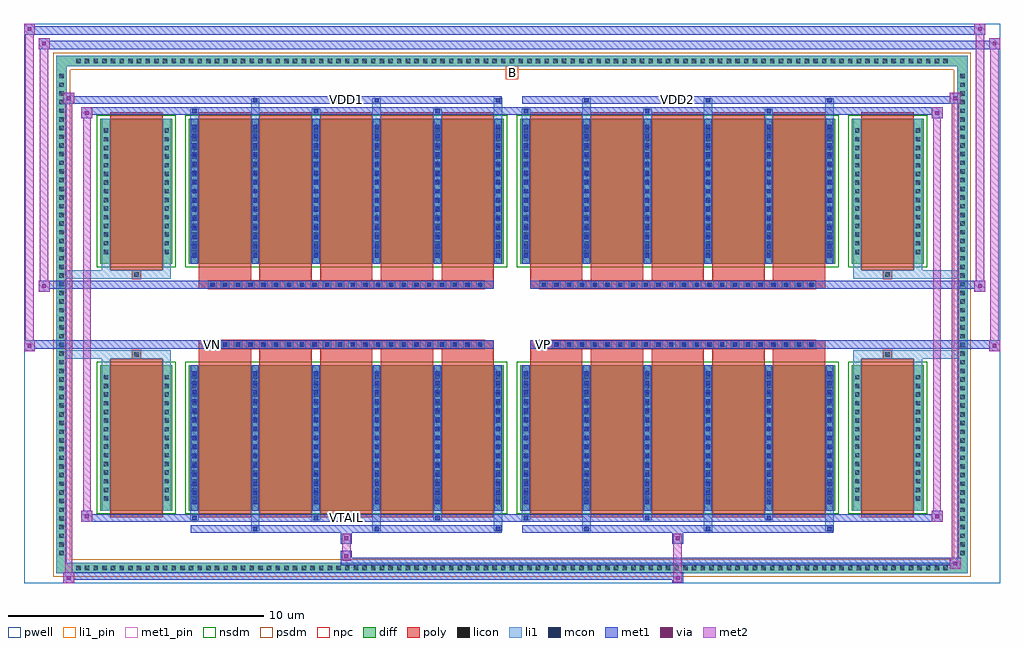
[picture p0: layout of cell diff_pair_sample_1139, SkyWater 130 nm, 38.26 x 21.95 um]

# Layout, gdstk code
import gdstk
lib = gdstk.Library(unit=1e-6, precision=5e-09)
def R(c, l, rs):  # rectangles x0, y0, x1, y1
    for r in rs: c.add(gdstk.rectangle(r[:2], r[2:], *l))
def A(c, l, x, y, w, h, nx, ny, dx, dy):  # array of equal rectangles
    R(c, l, [(x+i*dx, y+j*dy, x+i*dx+w, y+j*dy+h) for i in range(nx) for j in range(ny)])
def P(c, l, *ps):  # polygons
    for p in ps: c.add(gdstk.Polygon(p, *l))
pwell = (64, 44)
diff = (65, 20)
poly = (66, 20)
licon = (66, 44)
li1_pin = (67, 16)
li1 = (67, 20)
mcon = (67, 44)
met1_pin = (68, 16)
met1 = (68, 20)
via = (68, 44)
met2 = (69, 20)
nsdm = (93, 44)
psdm = (94, 20)
npc = (95, 20)

diff_pair_sample_1139 = lib.new_cell('diff_pair_sample_1139')
R(diff_pair_sample_1139, pwell, [(-19.13,-10.54,19.13,11.41), (-16.45,-8.73,-0.01,-0.805), (0.01,-8.73,16.45,-0.805), (-16.45,0.805,-0.01,8.73), (0.01,0.805,16.45,8.73)])
A(diff_pair_sample_1139, diff, -17.205, -10.14, 0.41, 0.41, 101, 2, 0.34, 19.87)
A(diff_pair_sample_1139, diff, -17.86, -9.555, 0.41, 0.41, 1, 56, 0, 0.34)
A(diff_pair_sample_1139, diff, 17.45, -9.555, 0.41, 0.41, 1, 56, 0, 0.34)
R(diff_pair_sample_1139, diff, [(-17.205,-10.14,17.205,-9.73), (-17.86,-9.555,-17.45,9.555), (17.45,-9.555,17.86,9.555), (-16.14,-7.685,-13.31,-1.985), (-12.67,-7.685,-0.32,-1.985), (0.32,-7.685,12.67,-1.985), (13.31,-7.685,16.14,-1.985), (-16.14,1.985,-13.31,7.685), (-12.67,1.985,-0.32,7.685), (0.32,1.985,12.67,7.685), (13.31,1.985,16.14,7.685), (-17.205,9.73,17.205,10.14)])
P(diff_pair_sample_1139, diff, [(17.86,10.14),(-17.86,10.14),(-17.86,-9.73),(-17.45,-9.73),(-17.45,9.73),(17.45,9.73),(17.45,-9.73),(-17.45,-9.73),(-17.86,-9.73),(-17.86,-10.14),(17.86,-10.14)])
A(diff_pair_sample_1139, poly, -12.28, -7.935, 2.05, 6.2, 5, 2, 2.38, 9.67)
A(diff_pair_sample_1139, poly, 0.71, -7.935, 2.05, 6.2, 5, 2, 2.38, 9.67)
A(diff_pair_sample_1139, poly, -12.28, -1.735, 2.05, 0.4, 5, 2, 2.38, 3.07)
A(diff_pair_sample_1139, poly, 0.71, -1.735, 2.05, 0.4, 5, 2, 2.38, 3.07)
A(diff_pair_sample_1139, poly, -11.91, -1.335, 0.33, 0.33, 22, 2, 0.5, 2.34)
A(diff_pair_sample_1139, poly, 1.08, -1.335, 0.33, 0.33, 22, 2, 0.5, 2.34)
R(diff_pair_sample_1139, poly, [(-15.75,-7.935,-13.7,-1.735), (13.7,-7.935,15.75,-1.735), (-14.89,-1.735,-14.56,-1.405), (-14.89,-1.735,-14.56,-1.405), (14.56,-1.735,14.89,-1.405), (14.56,-1.735,14.89,-1.405), (-12.28,-1.335,-0.71,-1.005), (0.71,-1.335,12.28,-1.005), (-12.28,1.005,-0.71,1.335), (0.71,1.005,12.28,1.335), (-14.89,1.405,-14.56,1.735), (-14.89,1.405,-14.56,1.735), (14.56,1.405,14.89,1.735), (14.56,1.405,14.89,1.735), (-15.75,1.735,-13.7,7.935), (13.7,1.735,15.75,7.935)])
A(diff_pair_sample_1139, licon, -17.085, -10.02, 0.17, 0.17, 101, 2, 0.34, 19.87)
A(diff_pair_sample_1139, licon, -17.74, -9.435, 0.17, 0.17, 1, 56, 0, 0.34)
A(diff_pair_sample_1139, licon, 17.57, -9.435, 0.17, 0.17, 1, 56, 0, 0.34)
A(diff_pair_sample_1139, licon, -16, -7.3, 0.17, 0.17, 1, 15, 0, 0.34)
A(diff_pair_sample_1139, licon, -13.62, -7.3, 0.17, 0.17, 1, 15, 0, 0.34)
A(diff_pair_sample_1139, licon, -12.53, -7.3, 0.17, 0.17, 6, 15, 2.38, 0.34)
A(diff_pair_sample_1139, licon, 0.46, -7.3, 0.17, 0.17, 6, 15, 2.38, 0.34)
A(diff_pair_sample_1139, licon, 13.45, -7.3, 0.17, 0.17, 1, 15, 0, 0.34)
A(diff_pair_sample_1139, licon, 15.83, -7.3, 0.17, 0.17, 1, 15, 0, 0.34)
A(diff_pair_sample_1139, licon, -11.83, -1.255, 0.17, 0.17, 22, 2, 0.5, 2.34)
A(diff_pair_sample_1139, licon, 1.16, -1.255, 0.17, 0.17, 22, 2, 0.5, 2.34)
A(diff_pair_sample_1139, licon, -16, 2.37, 0.17, 0.17, 1, 15, 0, 0.34)
A(diff_pair_sample_1139, licon, -13.62, 2.37, 0.17, 0.17, 1, 15, 0, 0.34)
A(diff_pair_sample_1139, licon, -12.53, 2.37, 0.17, 0.17, 6, 15, 2.38, 0.34)
A(diff_pair_sample_1139, licon, 0.46, 2.37, 0.17, 0.17, 6, 15, 2.38, 0.34)
A(diff_pair_sample_1139, licon, 13.45, 2.37, 0.17, 0.17, 1, 15, 0, 0.34)
A(diff_pair_sample_1139, licon, 15.83, 2.37, 0.17, 0.17, 1, 15, 0, 0.34)
R(diff_pair_sample_1139, licon, [(-14.81,-1.655,-14.64,-1.485), (14.64,-1.655,14.81,-1.485), (-14.81,1.485,-14.64,1.655), (14.64,1.485,14.81,1.655)])
R(diff_pair_sample_1139, li1_pin, [(-0.25,9.23,0.25,9.73)])
A(diff_pair_sample_1139, li1, -17.165, -10.1, 0.33, 0.33, 101, 2, 0.34, 19.87)
A(diff_pair_sample_1139, li1, -17.82, -9.515, 0.33, 0.33, 1, 56, 0, 0.34)
A(diff_pair_sample_1139, li1, 17.49, -9.515, 0.33, 0.33, 1, 56, 0, 0.34)
A(diff_pair_sample_1139, li1, -10.23, -8.49, 0.33, 0.805, 3, 2, 4.76, 16.175)
A(diff_pair_sample_1139, li1, -10.15, -8.49, 0.17, 0.17, 3, 2, 4.76, 16.81)
A(diff_pair_sample_1139, li1, 2.76, -8.49, 0.33, 0.805, 3, 2, 4.76, 16.175)
A(diff_pair_sample_1139, li1, 2.84, -8.49, 0.17, 0.17, 3, 2, 4.76, 16.81)
A(diff_pair_sample_1139, li1, -12.61, -8.06, 0.33, 0.375, 3, 2, 4.76, 15.745)
A(diff_pair_sample_1139, li1, -12.53, -8.06, 0.17, 0.17, 3, 2, 4.76, 15.95)
A(diff_pair_sample_1139, li1, 0.38, -8.06, 0.33, 0.375, 3, 2, 4.76, 15.745)
A(diff_pair_sample_1139, li1, 0.46, -8.06, 0.17, 0.17, 3, 2, 4.76, 15.95)
A(diff_pair_sample_1139, li1, -12.61, -7.685, 0.33, 5.7, 6, 2, 2.38, 9.67)
A(diff_pair_sample_1139, li1, 0.38, -7.685, 0.33, 5.7, 6, 2, 2.38, 9.67)
A(diff_pair_sample_1139, li1, -12.53, -7.44, 0.17, 0.17, 6, 15, 2.38, 0.36)
A(diff_pair_sample_1139, li1, -12.53, -7.44, 0.17, 5.21, 6, 2, 2.38, 9.67)
A(diff_pair_sample_1139, li1, 0.46, -7.44, 0.17, 0.17, 6, 15, 2.38, 0.36)
A(diff_pair_sample_1139, li1, 0.46, -7.44, 0.17, 5.21, 6, 2, 2.38, 9.67)
A(diff_pair_sample_1139, li1, -16.08, -7.38, 0.33, 0.33, 1, 15, 0, 0.34)
A(diff_pair_sample_1139, li1, -13.7, -7.38, 0.33, 0.33, 1, 15, 0, 0.34)
A(diff_pair_sample_1139, li1, -12.61, -7.38, 0.33, 0.33, 6, 15, 2.38, 0.34)
A(diff_pair_sample_1139, li1, 0.38, -7.38, 0.33, 0.33, 6, 15, 2.38, 0.34)
A(diff_pair_sample_1139, li1, 13.37, -7.38, 0.33, 0.33, 1, 15, 0, 0.34)
A(diff_pair_sample_1139, li1, 15.75, -7.38, 0.33, 0.33, 1, 15, 0, 0.34)
A(diff_pair_sample_1139, li1, -11.91, -1.335, 0.33, 0.33, 22, 2, 0.5, 2.34)
A(diff_pair_sample_1139, li1, 1.08, -1.335, 0.33, 0.33, 22, 2, 0.5, 2.34)
A(diff_pair_sample_1139, li1, -12.53, 2.23, 0.17, 0.17, 6, 15, 2.38, 0.36)
A(diff_pair_sample_1139, li1, 0.46, 2.23, 0.17, 0.17, 6, 15, 2.38, 0.36)
A(diff_pair_sample_1139, li1, -16.08, 2.29, 0.33, 0.33, 1, 15, 0, 0.34)
A(diff_pair_sample_1139, li1, -13.7, 2.29, 0.33, 0.33, 1, 15, 0, 0.34)
A(diff_pair_sample_1139, li1, -12.61, 2.29, 0.33, 0.33, 6, 15, 2.38, 0.34)
A(diff_pair_sample_1139, li1, 0.38, 2.29, 0.33, 0.33, 6, 15, 2.38, 0.34)
A(diff_pair_sample_1139, li1, 13.37, 2.29, 0.33, 0.33, 1, 15, 0, 0.34)
A(diff_pair_sample_1139, li1, 15.75, 2.29, 0.33, 0.33, 1, 15, 0, 0.34)
R(diff_pair_sample_1139, li1, [(-17.86,-10.14,-17.45,-9.73), (-17.86,-10.14,-17.45,-9.73), (-17.45,-10.14,17.45,-9.73), (17.45,-10.14,17.86,-9.73), (17.45,-10.14,17.86,-9.73), (-17.86,-9.73,-17.45,9.73), (17.45,-9.73,17.86,9.73), (-16.08,-7.685,-15.75,-1.985), (-13.7,-7.685,-13.37,-1.985), (13.37,-7.685,13.7,-1.985), (15.75,-7.685,16.08,-1.985), (-16.08,-1.985,-15.75,-1.405), (-13.7,-1.985,-13.37,-1.405), (13.37,-1.985,13.7,-1.405), (15.75,-1.985,16.08,-1.405), (-17.86,-1.735,-14.89,-1.405), (-16.08,-1.735,-14.89,-1.405), (-14.89,-1.735,-14.56,-1.405), (-14.56,-1.735,-13.37,-1.405), (13.37,-1.735,14.56,-1.405), (14.56,-1.735,14.89,-1.405), (14.56,-1.735,17.86,-1.405), (14.89,-1.735,16.08,-1.405), (-17.86,1.405,-14.89,1.735), (-16.08,1.405,-14.89,1.735), (-16.08,1.405,-15.75,1.985), (-14.89,1.405,-14.56,1.735), (-14.56,1.405,-13.37,1.735), (-13.7,1.405,-13.37,1.985), (13.37,1.405,14.56,1.735), (13.37,1.405,13.7,1.985), (14.56,1.405,14.89,1.735), (14.56,1.405,17.86,1.735), (14.89,1.405,16.08,1.735), (15.75,1.405,16.08,1.985), (-16.08,1.985,-15.75,7.685), (-13.7,1.985,-13.37,7.685), (13.37,1.985,13.7,7.685), (15.75,1.985,16.08,7.685), (-17.86,9.73,-17.45,10.14), (-17.86,9.73,-17.45,10.14), (-17.45,9.73,17.45,10.14), (17.45,9.73,17.86,10.14), (17.45,9.73,17.86,10.14)])
A(diff_pair_sample_1139, mcon, -10.15, -8.49, 0.17, 0.17, 3, 2, 4.76, 16.81)
A(diff_pair_sample_1139, mcon, 2.84, -8.49, 0.17, 0.17, 3, 2, 4.76, 16.81)
A(diff_pair_sample_1139, mcon, -12.53, -8.06, 0.17, 0.17, 3, 2, 4.76, 15.95)
A(diff_pair_sample_1139, mcon, 0.46, -8.06, 0.17, 0.17, 3, 2, 4.76, 15.95)
A(diff_pair_sample_1139, mcon, -12.53, -7.44, 0.17, 0.17, 6, 15, 2.38, 0.36)
A(diff_pair_sample_1139, mcon, 0.46, -7.44, 0.17, 0.17, 6, 15, 2.38, 0.36)
A(diff_pair_sample_1139, mcon, -11.83, -1.255, 0.17, 0.17, 22, 2, 0.5, 2.34)
A(diff_pair_sample_1139, mcon, 1.16, -1.255, 0.17, 0.17, 22, 2, 0.5, 2.34)
A(diff_pair_sample_1139, mcon, -12.53, 2.23, 0.17, 0.17, 6, 15, 2.38, 0.36)
A(diff_pair_sample_1139, mcon, 0.46, 2.23, 0.17, 0.17, 6, 15, 2.38, 0.36)
R(diff_pair_sample_1139, met1_pin, [(-6.63,-8.1,-6.36,-7.83), (-11.88,-1.295,-11.61,-1.025), (1.11,-1.295,1.38,-1.025), (-6.63,8.28,-6.36,8.55), (6.36,8.28,6.63,8.55)])
A(diff_pair_sample_1139, met1, -10.21, -8.55, 0.29, 0.29, 3, 2, 4.76, 16.81)
A(diff_pair_sample_1139, met1, 2.78, -8.55, 0.29, 0.29, 3, 2, 4.76, 16.81)
A(diff_pair_sample_1139, met1, -12.59, -8.12, 0.29, 0.29, 3, 2, 4.76, 15.95)
A(diff_pair_sample_1139, met1, 0.4, -8.12, 0.29, 0.29, 3, 2, 4.76, 15.95)
A(diff_pair_sample_1139, met1, -12.59, -7.685, 0.29, 5.7, 6, 2, 2.38, 9.67)
A(diff_pair_sample_1139, met1, 0.4, -7.685, 0.29, 5.7, 6, 2, 2.38, 9.67)
A(diff_pair_sample_1139, met1, -12.59, -7.5, 0.29, 0.29, 6, 15, 2.38, 0.36)
A(diff_pair_sample_1139, met1, 0.4, -7.5, 0.29, 0.29, 6, 15, 2.38, 0.36)
A(diff_pair_sample_1139, met1, -11.89, -1.315, 0.29, 0.29, 22, 2, 0.5, 2.34)
A(diff_pair_sample_1139, met1, 1.1, -1.315, 0.29, 0.29, 22, 2, 0.5, 2.34)
A(diff_pair_sample_1139, met1, -12.59, 2.17, 0.29, 0.29, 6, 15, 2.38, 0.36)
A(diff_pair_sample_1139, met1, 0.4, 2.17, 0.29, 0.29, 6, 15, 2.38, 0.36)
R(diff_pair_sample_1139, met1, [(-17.59,-10.54,-17.16,-10.11), (6.28,-10.54,6.71,-10.11), (-17.59,-10.4,6.71,-10.11), (17.16,-9.97,17.59,-9.54), (-6.71,-9.83,17.59,-9.54), (-6.71,-9.69,-6.28,-9.26), (-6.71,-8.98,-6.28,-8.55), (6.28,-8.98,6.71,-8.55), (-12.59,-8.55,-0.4,-8.26), (0.4,-8.55,12.59,-8.26), (-16.88,-8.12,-16.45,-7.69), (-16.88,-8.12,-12.59,-7.83), (-12.59,-8.12,-0.4,-7.83), (-0.4,-8.12,0.4,-7.83), (0.4,-8.12,12.59,-7.83), (12.59,-8.12,16.88,-7.83), (16.45,-8.12,16.88,-7.69), (-19.13,-1.435,-18.7,-1.005), (18.7,-1.435,19.13,-1.005), (-19.13,-1.335,-0.71,-1.005), (-12.28,-1.335,-0.71,-1.005), (0.71,-1.335,12.28,-1.005), (0.71,-1.335,19.13,-1.005), (-18.56,0.905,-18.13,1.335), (18.13,0.905,18.56,1.335), (-18.56,1.005,-12.28,1.335), (-12.28,1.005,-0.71,1.335), (0.71,1.005,12.28,1.335), (12.28,1.005,18.56,1.335), (-16.88,7.69,-16.45,8.12), (16.45,7.69,16.88,8.12), (-16.88,7.83,-12.59,8.12), (-12.59,7.83,-0.4,8.12), (-0.4,7.83,0.4,8.12), (0.4,7.83,12.59,8.12), (12.59,7.83,16.88,8.12), (-17.59,8.26,-17.16,8.69), (-17.59,8.26,-12.59,8.55), (-12.59,8.26,-0.4,8.55), (0.4,8.26,12.59,8.55), (12.59,8.26,17.59,8.55), (17.16,8.26,17.59,8.69), (-18.56,10.41,-18.13,10.84), (-18.56,10.41,-16.45,10.74), (-16.45,10.41,16.45,10.74), (16.45,10.41,19.13,10.74), (18.7,10.41,19.13,10.84), (-19.13,10.98,-18.7,11.41), (-19.13,10.98,-16.45,11.31), (-16.45,10.98,16.45,11.31), (16.45,10.98,18.56,11.31), (18.13,10.98,18.56,11.41)])
R(diff_pair_sample_1139, via, [(-17.45,-10.4,-17.3,-10.25), (6.42,-10.4,6.57,-10.25), (17.3,-9.83,17.45,-9.68), (-6.57,-9.55,-6.42,-9.4), (-6.57,-8.84,-6.42,-8.69), (6.42,-8.84,6.57,-8.69), (-16.74,-7.98,-16.59,-7.83), (16.59,-7.98,16.74,-7.83), (-18.99,-1.295,-18.84,-1.145), (18.84,-1.295,18.99,-1.145), (-18.42,1.045,-18.27,1.195), (18.27,1.045,18.42,1.195), (-16.74,7.83,-16.59,7.98), (16.59,7.83,16.74,7.98), (-17.45,8.4,-17.3,8.55), (17.3,8.4,17.45,8.55), (-18.42,10.55,-18.27,10.7), (18.84,10.55,18.99,10.7), (-18.99,11.12,-18.84,11.27), (18.27,11.12,18.42,11.27)])
R(diff_pair_sample_1139, met2, [(-17.59,-10.54,-17.16,-10.11), (-17.52,-10.54,-17.23,8.69), (-17.23,-10.54,-17.16,-10.11), (-17.54,-10.49,-17.21,-10.16), (6.33,-10.49,6.66,-10.16), (6.33,-10.16,6.66,-8.93), (17.16,-9.97,17.59,-9.54), (17.23,-9.97,17.52,8.69), (17.52,-9.97,17.59,-9.54), (17.21,-9.92,17.54,-9.59), (-6.66,-9.64,-6.33,-9.31), (-6.66,-9.31,-6.33,-8.93), (-6.66,-8.93,-6.33,-8.6), (6.33,-8.93,6.66,-8.6), (-16.88,-8.12,-16.45,-7.69), (-16.81,-8.12,-16.52,8.12), (-16.52,-8.12,-16.45,-7.69), (16.45,-8.12,16.88,-7.69), (16.52,-8.12,16.81,8.12), (16.81,-8.12,16.88,-7.69), (-16.83,-8.07,-16.5,-7.74), (16.5,-8.07,16.83,-7.74), (-19.13,-1.435,-18.7,-1.005), (-19.08,-1.435,-18.75,11.41), (-18.75,-1.435,-18.7,-1.005), (18.7,-1.435,19.13,-1.005), (18.75,-1.435,19.08,10.84), (19.08,-1.435,19.13,-1.005), (-19.08,-1.385,-18.75,-1.055), (18.75,-1.385,19.08,-1.055), (-18.56,0.905,-18.13,1.335), (-18.51,0.905,-18.18,10.84), (-18.18,0.905,-18.13,1.335), (18.13,0.905,18.56,1.335), (18.18,0.905,18.51,11.41), (18.51,0.905,18.56,1.335), (-18.51,0.955,-18.18,1.285), (18.18,0.955,18.51,1.285), (-16.88,7.69,-16.45,8.12), (-16.52,7.69,-16.45,8.12), (16.45,7.69,16.88,8.12), (16.81,7.69,16.88,8.12), (-16.83,7.74,-16.5,8.07), (16.5,7.74,16.83,8.07), (-17.59,8.26,-17.16,8.69), (-17.23,8.26,-17.16,8.69), (17.16,8.26,17.59,8.69), (17.52,8.26,17.59,8.69), (-17.54,8.31,-17.21,8.64), (17.21,8.31,17.54,8.64), (-18.56,10.41,-18.13,10.84), (-18.18,10.41,-18.13,10.84), (18.7,10.41,19.13,10.84), (19.08,10.41,19.13,10.84), (-18.51,10.46,-18.18,10.79), (18.75,10.46,19.08,10.79), (-19.13,10.98,-18.7,11.41), (-18.75,10.98,-18.7,11.41), (18.13,10.98,18.56,11.41), (18.51,10.98,18.56,11.41), (-19.08,11.03,-18.75,11.36), (18.18,11.03,18.51,11.36)])
R(diff_pair_sample_1139, nsdm, [(-16.27,-7.815,-13.18,-1.855), (-12.8,-7.815,-0.19,-1.855), (0.19,-7.815,12.8,-1.855), (13.18,-7.815,16.27,-1.855), (-16.27,1.855,-13.18,7.815), (-12.8,1.855,-0.19,7.815), (0.19,1.855,12.8,7.815), (13.18,1.855,16.27,7.815)])
P(diff_pair_sample_1139, psdm, [(17.99,10.27),(-17.99,10.27),(-17.99,-9.6),(-17.32,-9.6),(-17.32,9.6),(17.32,9.6),(17.32,-9.6),(-17.32,-9.6),(-17.99,-9.6),(-17.99,-10.27),(17.99,-10.27)])
A(diff_pair_sample_1139, npc, -11.93, -1.355, 0.37, 0.37, 22, 2, 0.5, 2.34)
A(diff_pair_sample_1139, npc, 1.06, -1.355, 0.37, 0.37, 22, 2, 0.5, 2.34)
R(diff_pair_sample_1139, npc, [(-14.91,-1.755,-14.54,-1.385), (14.54,-1.755,14.91,-1.385), (-11.93,-1.355,-11.06,-0.985), (-11.93,-1.355,-11.06,-0.985), (-11.43,-1.355,-10.56,-0.985), (-11.43,-1.355,-10.56,-0.985), (-10.93,-1.355,-10.06,-0.985), (-10.93,-1.355,-10.06,-0.985), (-10.43,-1.355,-9.56,-0.985), (-10.43,-1.355,-9.56,-0.985), (-9.93,-1.355,-9.06,-0.985), (-9.93,-1.355,-9.06,-0.985), (-9.43,-1.355,-8.56,-0.985), (-9.43,-1.355,-8.56,-0.985), (-8.93,-1.355,-8.06,-0.985), (-8.93,-1.355,-8.06,-0.985), (-8.43,-1.355,-7.56,-0.985), (-8.43,-1.355,-7.56,-0.985), (-7.93,-1.355,-7.06,-0.985), (-7.93,-1.355,-7.06,-0.985), (-7.43,-1.355,-6.56,-0.985), (-7.43,-1.355,-6.56,-0.985), (-6.93,-1.355,-6.06,-0.985), (-6.93,-1.355,-6.06,-0.985), (-6.43,-1.355,-5.56,-0.985), (-6.43,-1.355,-5.56,-0.985), (-5.93,-1.355,-5.06,-0.985), (-5.93,-1.355,-5.06,-0.985), (-5.43,-1.355,-4.56,-0.985), (-5.43,-1.355,-4.56,-0.985), (-4.93,-1.355,-4.06,-0.985), (-4.93,-1.355,-4.06,-0.985), (-4.43,-1.355,-3.56,-0.985), (-4.43,-1.355,-3.56,-0.985), (-3.93,-1.355,-3.06,-0.985), (-3.93,-1.355,-3.06,-0.985), (-3.43,-1.355,-2.56,-0.985), (-3.43,-1.355,-2.56,-0.985), (-2.93,-1.355,-2.06,-0.985), (-2.93,-1.355,-2.06,-0.985), (-2.43,-1.355,-1.56,-0.985), (-2.43,-1.355,-1.56,-0.985), (-1.93,-1.355,-1.06,-0.985), (-1.93,-1.355,-1.06,-0.985), (1.06,-1.355,1.93,-0.985), (1.06,-1.355,1.93,-0.985), (1.56,-1.355,2.43,-0.985), (1.56,-1.355,2.43,-0.985), (2.06,-1.355,2.93,-0.985), (2.06,-1.355,2.93,-0.985), (2.56,-1.355,3.43,-0.985), (2.56,-1.355,3.43,-0.985), (3.06,-1.355,3.93,-0.985), (3.06,-1.355,3.93,-0.985), (3.56,-1.355,4.43,-0.985), (3.56,-1.355,4.43,-0.985), (4.06,-1.355,4.93,-0.985), (4.06,-1.355,4.93,-0.985), (4.56,-1.355,5.43,-0.985), (4.56,-1.355,5.43,-0.985), (5.06,-1.355,5.93,-0.985), (5.06,-1.355,5.93,-0.985), (5.56,-1.355,6.43,-0.985), (5.56,-1.355,6.43,-0.985), (6.06,-1.355,6.93,-0.985), (6.06,-1.355,6.93,-0.985), (6.56,-1.355,7.43,-0.985), (6.56,-1.355,7.43,-0.985), (7.06,-1.355,7.93,-0.985), (7.06,-1.355,7.93,-0.985), (7.56,-1.355,8.43,-0.985), (7.56,-1.355,8.43,-0.985), (8.06,-1.355,8.93,-0.985), (8.06,-1.355,8.93,-0.985), (8.56,-1.355,9.43,-0.985), (8.56,-1.355,9.43,-0.985), (9.06,-1.355,9.93,-0.985), (9.06,-1.355,9.93,-0.985), (9.56,-1.355,10.43,-0.985), (9.56,-1.355,10.43,-0.985), (10.06,-1.355,10.93,-0.985), (10.06,-1.355,10.93,-0.985), (10.56,-1.355,11.43,-0.985), (10.56,-1.355,11.43,-0.985), (11.06,-1.355,11.93,-0.985), (11.06,-1.355,11.93,-0.985), (-11.93,0.985,-11.06,1.355), (-11.93,0.985,-11.06,1.355), (-11.43,0.985,-10.56,1.355), (-11.43,0.985,-10.56,1.355), (-10.93,0.985,-10.06,1.355), (-10.93,0.985,-10.06,1.355), (-10.43,0.985,-9.56,1.355), (-10.43,0.985,-9.56,1.355), (-9.93,0.985,-9.06,1.355), (-9.93,0.985,-9.06,1.355), (-9.43,0.985,-8.56,1.355), (-9.43,0.985,-8.56,1.355), (-8.93,0.985,-8.06,1.355), (-8.93,0.985,-8.06,1.355), (-8.43,0.985,-7.56,1.355), (-8.43,0.985,-7.56,1.355), (-7.93,0.985,-7.06,1.355), (-7.93,0.985,-7.06,1.355), (-7.43,0.985,-6.56,1.355), (-7.43,0.985,-6.56,1.355), (-6.93,0.985,-6.06,1.355), (-6.93,0.985,-6.06,1.355), (-6.43,0.985,-5.56,1.355), (-6.43,0.985,-5.56,1.355), (-5.93,0.985,-5.06,1.355), (-5.93,0.985,-5.06,1.355), (-5.43,0.985,-4.56,1.355), (-5.43,0.985,-4.56,1.355), (-4.93,0.985,-4.06,1.355), (-4.93,0.985,-4.06,1.355), (-4.43,0.985,-3.56,1.355), (-4.43,0.985,-3.56,1.355), (-3.93,0.985,-3.06,1.355), (-3.93,0.985,-3.06,1.355), (-3.43,0.985,-2.56,1.355), (-3.43,0.985,-2.56,1.355), (-2.93,0.985,-2.06,1.355), (-2.93,0.985,-2.06,1.355), (-2.43,0.985,-1.56,1.355), (-2.43,0.985,-1.56,1.355), (-1.93,0.985,-1.06,1.355), (-1.93,0.985,-1.06,1.355), (1.06,0.985,1.93,1.355), (1.06,0.985,1.93,1.355), (1.56,0.985,2.43,1.355), (1.56,0.985,2.43,1.355), (2.06,0.985,2.93,1.355), (2.06,0.985,2.93,1.355), (2.56,0.985,3.43,1.355), (2.56,0.985,3.43,1.355), (3.06,0.985,3.93,1.355), (3.06,0.985,3.93,1.355), (3.56,0.985,4.43,1.355), (3.56,0.985,4.43,1.355), (4.06,0.985,4.93,1.355), (4.06,0.985,4.93,1.355), (4.56,0.985,5.43,1.355), (4.56,0.985,5.43,1.355), (5.06,0.985,5.93,1.355), (5.06,0.985,5.93,1.355), (5.56,0.985,6.43,1.355), (5.56,0.985,6.43,1.355), (6.06,0.985,6.93,1.355), (6.06,0.985,6.93,1.355), (6.56,0.985,7.43,1.355), (6.56,0.985,7.43,1.355), (7.06,0.985,7.93,1.355), (7.06,0.985,7.93,1.355), (7.56,0.985,8.43,1.355), (7.56,0.985,8.43,1.355), (8.06,0.985,8.93,1.355), (8.06,0.985,8.93,1.355), (8.56,0.985,9.43,1.355), (8.56,0.985,9.43,1.355), (9.06,0.985,9.93,1.355), (9.06,0.985,9.93,1.355), (9.56,0.985,10.43,1.355), (9.56,0.985,10.43,1.355), (10.06,0.985,10.93,1.355), (10.06,0.985,10.93,1.355), (10.56,0.985,11.43,1.355), (10.56,0.985,11.43,1.355), (11.06,0.985,11.93,1.355), (11.06,0.985,11.93,1.355), (-14.91,1.385,-14.54,1.755), (14.54,1.385,14.91,1.755)])
diff_pair_sample_1139.add(gdstk.Label('VTAIL', (-6.495,-7.965), layer=68, texttype=5))
diff_pair_sample_1139.add(gdstk.Label('VN', (-11.745,-1.16), layer=68, texttype=5))
diff_pair_sample_1139.add(gdstk.Label('VP', (1.245,-1.16), layer=68, texttype=5))
diff_pair_sample_1139.add(gdstk.Label('B', (0,9.48), layer=67, texttype=5))
diff_pair_sample_1139.add(gdstk.Label('VDD2', (6.495,8.415), layer=68, texttype=5))
diff_pair_sample_1139.add(gdstk.Label('VDD1', (-6.495,8.415), layer=68, texttype=5))

lib.write_gds('diff_pair_sample_1139.gds')
